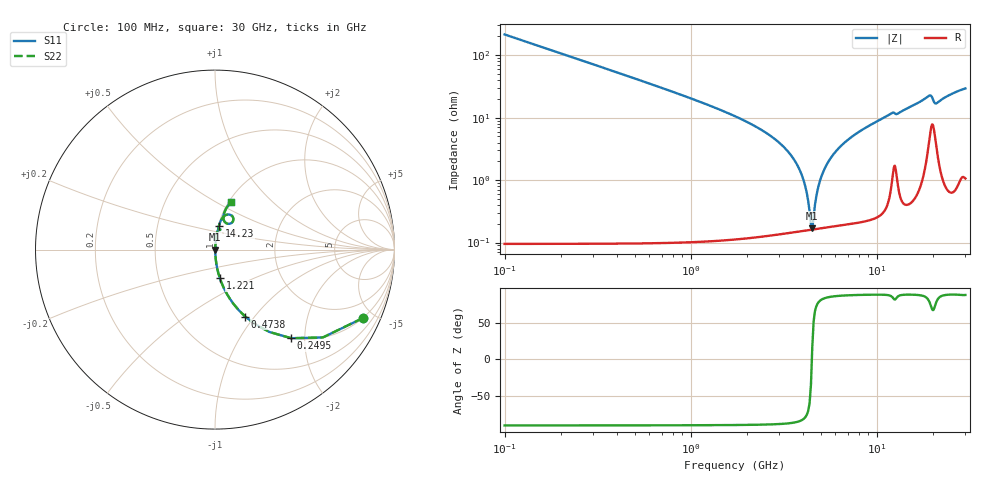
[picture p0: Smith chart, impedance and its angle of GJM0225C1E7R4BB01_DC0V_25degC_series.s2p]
!Murata Part Number: GJM0225C1E7R4BB01
!These Parameters are Measured in Series Mode Connection
!  o--ll--o
!Port1  Port2
!  o------o
!Operation Temp=25[degC], DC Bias Voltage=0[V]
!Freq. Start=100[MHz] Stop=30[GHz], 401[Steps]
!Data Generated on Feb 1, 2023
# Hz S RI R 50
!Freq.(Hz) S11(Real) S11(Imag) S21(Real) S21(Imag) S12(Real) S12(Imag) S22(Real) S22(Imag)
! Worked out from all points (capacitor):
!   401 points, 100 MHz to 30 GHz, reference 50 ohm
!   read as one part in series: C = 7.4 pF near 249.5 MHz
!   lowest |Z| = 169 mohm at 4.51 GHz (marker M1)
!   series resonance near 4.486 GHz, so ESL is about 170 pH
!   S11 on the Smith chart (normalised r, x): 100 MHz: 1.00, -4.30; 249.5 MHz: 1.00, -1.72; 473.8 MHz: 1.00, -0.90; 1.221 GHz: 1.00, -0.33; 14.23 GHz: 1.01, +0.27; 30 GHz: 1.02, +0.59
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1e8  0.822 -0.3823  0.178 0.3823  0.178 0.3823  0.822 -0.3823
2.495e8  0.4249 -0.4938  0.5751 0.4938  0.5751 0.4938  0.4249 -0.4938
4.7375e8  0.1682 -0.373  0.8318 0.373  0.8318 0.373  0.1682 -0.373
1.22125e9  0.0268 -0.1584  0.9732 0.1584  0.9732 0.1584  0.0268 -0.1584
3.5385e9  0.00197 -0.0228  0.998 0.0228  0.998 0.0228  0.00197 -0.0228
3.987e9  0.00165 -0.0113  0.9983 0.0113  0.9983 0.0113  0.00165 -0.0113
4.1365e9  0.00161 -0.00773  0.9984 0.00773  0.9984 0.00773  0.00161 -0.00773
4.36075e9  0.00159 -0.0027  0.9984 0.0027  0.9984 0.0027  0.00159 -0.0027
4.51025e9  0.00161 0.000515  0.9984 -0.000515  0.9984 -0.000515  0.00161 0.000515
4.585e9  0.00162 0.00208  0.9984 -0.00208  0.9984 -0.00208  0.00162 0.00208
4.884e9  0.00173 0.00811  0.9983 -0.00811  0.9983 -0.00811  0.00173 0.00811
5.10825e9  0.00185 0.0124  0.9981 -0.0124  0.9981 -0.0124  0.00185 0.0124
5.70625e9  0.00232 0.0231  0.9977 -0.0231  0.9977 -0.0231  0.00232 0.0231
6.678e9  0.00342 0.0389  0.9966 -0.0389  0.9966 -0.0389  0.00342 0.0389
1.01165e10  0.0102 0.0871  0.9898 -0.0871  0.9898 -0.0871  0.0102 0.0871
1.422775e10  0.0219 0.1321  0.9781 -0.1321  0.9781 -0.1321  0.0219 0.1321
1.505e10  0.0252 0.1433  0.9748 -0.1433  0.9748 -0.1433  0.0252 0.1433
1.90865e10  0.0786 0.1956  0.9214 -0.1956  0.9214 -0.1956  0.0786 0.1956
2.005825e10  0.097 0.1532  0.903 -0.1532  0.903 -0.1532  0.097 0.1532
2.080575e10  0.0613 0.1482  0.9387 -0.1482  0.9387 -0.1482  0.0613 0.1482
2.50665e10  0.0583 0.2213  0.9417 -0.2213  0.9417 -0.2213  0.0583 0.2213
3e10  0.0876 0.2651  0.9124 -0.2651  0.9124 -0.2651  0.0876 0.2651
